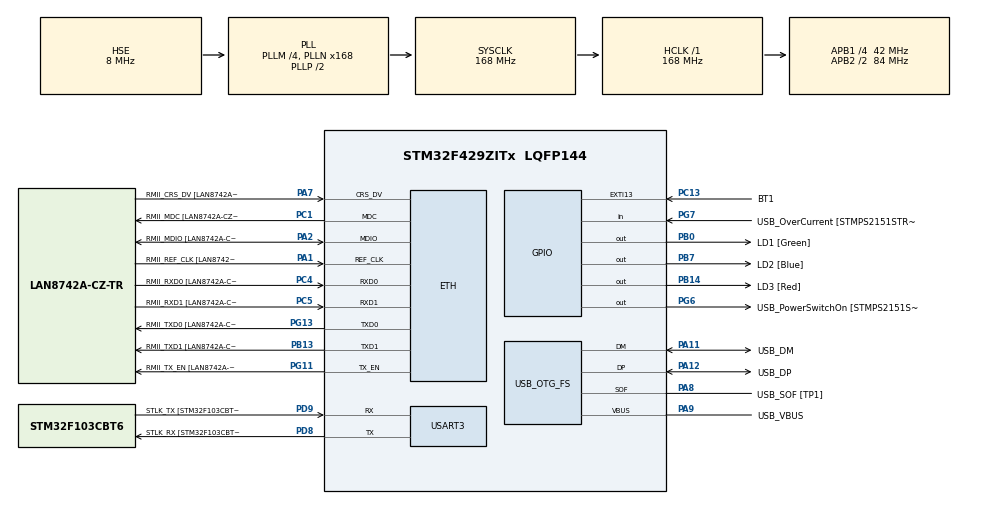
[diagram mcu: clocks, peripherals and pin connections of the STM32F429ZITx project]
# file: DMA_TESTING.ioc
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Dma.Request0=USART3_TX
Dma.Request1=USART3_RX
Dma.USART3_RX.1.Direction=DMA_PERIPH_TO_MEMORY
Dma.USART3_RX.1.FIFOMode=DMA_FIFOMODE_DISABLE
Dma.USART3_RX.1.Instance=DMA1_Stream1
Dma.USART3_RX.1.MemDataAlignment=DMA_MDATAALIGN_BYTE
Dma.USART3_RX.1.MemInc=DMA_MINC_ENABLE
Dma.USART3_RX.1.Mode=DMA_NORMAL
Dma.USART3_RX.1.PeriphDataAlignment=DMA_PDATAALIGN_BYTE
Dma.USART3_RX.1.PeriphInc=DMA_PINC_DISABLE
Dma.USART3_RX.1.Priority=DMA_PRIORITY_LOW
Dma.USART3_TX.0.Direction=DMA_MEMORY_TO_PERIPH
Dma.USART3_TX.0.FIFOMode=DMA_FIFOMODE_DISABLE
Dma.USART3_TX.0.Instance=DMA1_Stream3
Dma.USART3_TX.0.MemDataAlignment=DMA_MDATAALIGN_BYTE
Dma.USART3_TX.0.MemInc=DMA_MINC_ENABLE
Dma.USART3_TX.0.Mode=DMA_NORMAL
Dma.USART3_TX.0.PeriphDataAlignment=DMA_PDATAALIGN_BYTE
Dma.USART3_TX.0.PeriphInc=DMA_PINC_DISABLE
Dma.USART3_TX.0.Priority=DMA_PRIORITY_LOW
ETH.MediaInterface=HAL_ETH_RMII_MODE
ETH.PHY_Name=LAN8742A_PHY_ADDRESS
ETH.PHY_Value=0
ETH.PhyAddress=0
Mcu.Family=STM32F4
Mcu.Name=STM32F429ZITx
Mcu.Package=LQFP144
NVIC.DMA1_Stream1_IRQn=true\:0\:0\:false\:false\:true\:false\:true\:true
NVIC.DMA1_Stream3_IRQn=true\:0\:0\:false\:true\:true\:1\:false\:true\:true
NVIC.PriorityGroup=NVIC_PRIORITYGROUP_4
NVIC.USART3_IRQn=true\:0\:0\:false\:true\:true\:2\:true\:true\:true
PA1.GPIO_Label=RMII_REF_CLK [LAN8742A-CZ-TR_REFCLK0]
PA1.Mode=RMII
PA1.Signal=ETH_REF_CLK
PA10.GPIO_Label=USB_ID
PA10.Signal=USB_OTG_FS_ID
PA11.GPIO_Label=USB_DM
PA11.Mode=Device_Only
PA11.Signal=USB_OTG_FS_DM
PA12.GPIO_Label=USB_DP
PA12.Mode=Device_Only
PA12.Signal=USB_OTG_FS_DP
PA13.GPIO_Label=TMS
PA13.Mode=Serial_Wire
PA13.Signal=SYS_JTMS-SWDIO
PA14.GPIO_Label=TCK
PA14.Mode=Serial_Wire
PA14.Signal=SYS_JTCK-SWCLK
PA2.GPIO_Label=RMII_MDIO [LAN8742A-CZ-TR_MDIO]
PA2.Mode=RMII
PA2.Signal=ETH_MDIO
PA7.GPIO_Label=RMII_CRS_DV [LAN8742A-CZ-TR_CRS_DV]
PA7.Mode=RMII
PA7.Signal=ETH_CRS_DV
PA8.GPIO_Label=USB_SOF [TP1]
PA8.Mode=Activate_SOF_FS
PA8.Signal=USB_OTG_FS_SOF
PA9.GPIO_Label=USB_VBUS
PA9.Mode=Activate_VBUS
PA9.Signal=USB_OTG_FS_VBUS
PB0.GPIO_Label=LD1 [Green]
PB0.Signal=GPIO_Output
PB13.GPIO_Label=RMII_TXD1 [LAN8742A-CZ-TR_TXD1]
PB13.Mode=RMII
PB13.Signal=ETH_TXD1
PB14.GPIO_Label=LD3 [Red]
PB14.Signal=GPIO_Output
PB7.GPIO_Label=LD2 [Blue]
PB7.Signal=GPIO_Output
PC1.GPIO_Label=RMII_MDC [LAN8742A-CZ-TR_MDC]
PC1.Mode=RMII
PC1.Signal=ETH_MDC
PC13.GPIO_Label=BT1
PC13.Signal=GPXTI13
PC14/OSC32_IN.Mode=LSE-External-Oscillator
PC14/OSC32_IN.Signal=RCC_OSC32_IN
PC15/OSC32_OUT.Mode=LSE-External-Oscillator
PC15/OSC32_OUT.Signal=RCC_OSC32_OUT
PC4.GPIO_Label=RMII_RXD0 [LAN8742A-CZ-TR_RXD0]
PC4.Mode=RMII
PC4.Signal=ETH_RXD0
PC5.GPIO_Label=RMII_RXD1 [LAN8742A-CZ-TR_RXD1]
PC5.Mode=RMII
PC5.Signal=ETH_RXD1
PD8.GPIO_Label=STLK_RX [STM32F103CBT6_PA3]
PD8.Mode=Asynchronous
PD8.Signal=USART3_TX
PD9.GPIO_Label=STLK_TX [STM32F103CBT6_PA2]
PD9.Mode=Asynchronous
PD9.Signal=USART3_RX
PG11.GPIO_Label=RMII_TX_EN [LAN8742A-CZ-TR_TXEN]
PG11.Mode=RMII
PG11.Signal=ETH_TX_EN
PG13.GPIO_Label=RMII_TXD0 [LAN8742A-CZ-TR_TXD0]
PG13.Mode=RMII
PG13.Signal=ETH_TXD0
PG6.GPIO_Label=USB_PowerSwitchOn [STMPS2151STR_EN]
PG6.Signal=GPIO_Output
PG7.GPIO_Label=USB_OverCurrent [STMPS2151STR_FAULT]
PG7.Signal=GPIO_Input
PH0/OSC_IN.GPIO_Label=MCO [STM32F103CBT6_PA8]
PH0/OSC_IN.Mode=HSE-External-Clock-Source
PH0/OSC_IN.Signal=RCC_OSC_IN
PH1/OSC_OUT.Mode=HSE-External-Clock-Source
PH1/OSC_OUT.Signal=RCC_OSC_OUT
ProjectManager.HeapSize=0x200
ProjectManager.StackSize=0x400
ProjectManager.TargetToolchain=STM32CubeIDE
RCC.48MHZClocksFreq_Value=48000000
RCC.AHBFreq_Value=168000000
RCC.APB1CLKDivider=RCC_HCLK_DIV4
RCC.APB1Freq_Value=42000000
RCC.APB1TimFreq_Value=84000000
RCC.APB2CLKDivider=RCC_HCLK_DIV2
RCC.APB2Freq_Value=84000000
RCC.APB2TimCLKDivider=2
RCC.APB2TimFreq_Value=168000000
RCC.CortexFreq_Value=168000000
RCC.HCLKFreq_Value=168000000
RCC.HSE_VALUE=8000000
RCC.HSI_VALUE=16000000
RCC.PLLM=4
RCC.PLLMUL=RCC_PLL_MUL9
RCC.PLLN=168
RCC.PLLQ=7
RCC.PRESCALERUSB=RCC_USBCLKSOURCE_PLL_DIV1_5
RCC.SYSCLKFreq_VALUE=168000000
RCC.SYSCLKSource=RCC_SYSCLKSOURCE_PLLCLK
RCC.SYSCLKSourceVirtual=RCC_SYSCLKSOURCE_PLLCLK
RCC.USBFreq_Value=48000000
RCC.VCOOutputFreq_Value=336000000
USART3.VirtualMode=VM_ASYNC
USB_OTG_FS.VirtualMode=Device_Only
board=NUCLEO-F429ZI

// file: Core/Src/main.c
/* USER CODE BEGIN Header */
/**
  ******************************************************************************
  * @file           : main.c
  * @brief          : Main program body
  ******************************************************************************
  * @attention
  *
  * Copyright (c) 2023 STMicroelectronics.
  * All rights reserved.
  *
  * This software is licensed under terms that can be found in the LICENSE file
  * in the root directory of this software component.
  * If no LICENSE file comes with this software, it is provided AS-IS.
  *
  ******************************************************************************
  */
/* USER CODE END Header */
#include "main.h"
#include "dma.h"
#include "eth.h"
#include "usart.h"
#include "usb_otg.h"
#include "gpio.h"

/* USER CODE BEGIN Includes */
#include "stdio.h"
#include "string.h"
#include "RingBuffer.h"
#include "command_parser.h"
#include "debounce.h"
#include "LedDriver.h"

/* USER CODE END Includes */

/* USER CODE BEGIN PV */

LedDiode_t Led1;
LedDiode_t Led2;
LedDiode_t Led3;

Button_t BlueButton;	//button type

RBuffer_t ReceivedDataRBuffer;	//Circular buffer for UART RX

uint8_t ReceivedMessage[32];	//Received Messages from UART (via DMA)
uint8_t CommandsCounter;		//Messages counter

uint8_t ExtractedCommand[32];	//Extracted Command to parse

/* USER CODE END PV */

void SystemClock_Config(void);
static void MX_NVIC_Init(void);
/* USER CODE BEGIN PFP */
void ButtonPress (void);
/* USER CODE END PFP */

int main(void)
{

  /* MCU Configuration--------------------------------------------------------*/

  /* Reset of all peripherals, Initializes the Flash interface and the Systick. */
  HAL_Init();

  /* Configure the system clock */
  SystemClock_Config();

  /* Initialize all configured peripherals */
  MX_GPIO_Init();
  MX_DMA_Init();
  MX_ETH_Init();
  MX_USART3_UART_Init();
  MX_USB_OTG_FS_PCD_Init();

  /* Initialize interrupts */
  MX_NVIC_Init();
  /* USER CODE BEGIN 2 */
  HAL_UARTEx_ReceiveToIdle_DMA(&huart3, ReceivedMessage , 32);		//Listen to UART, execute receive cplt callback after 32 bytes or uart idle state, allows to receive flexible data lengths (DMA is collecting data, and executing Interrupt)
  Debounce_ButtonInit(&BlueButton, BT1_GPIO_Port, BT1_Pin, PULL_DOWN, 30, 1000, 1000);
  Debounce_RegisterCallbackPress(&BlueButton, ButtonPress);

  Led_Init(&Led1, LD1_GPIO_Port, LD1_Pin);
  Led_Init(&Led2, LD2_GPIO_Port, LD2_Pin);
  Led_Init(&Led3, LD3_GPIO_Port, LD3_Pin);

  /* USER CODE END 2 */

  /* Infinite loop */
  /* USER CODE BEGIN WHILE */
  while (1)
  {
	  Led_Routine(&Led1);
	  Led_Routine(&Led2);
	  Led_Routine(&Led3);

	  if(CommandsCounter > 0)
	  {
		  Parser_TakeLine(&ReceivedDataRBuffer,ExtractedCommand);
		  Parser_Parse(ExtractedCommand);
		  CommandsCounter--;

	  }

    /* USER CODE END WHILE */

  }
}

void SystemClock_Config(void)
{
  RCC_OscInitTypeDef RCC_OscInitStruct = {0};
  RCC_ClkInitTypeDef RCC_ClkInitStruct = {0};

  /** Configure the main internal regulator output voltage
  */
  __HAL_RCC_PWR_CLK_ENABLE();
  __HAL_PWR_VOLTAGESCALING_CONFIG(PWR_REGULATOR_VOLTAGE_SCALE1);

  /** Initializes the RCC Oscillators according to the specified parameters
  * in the RCC_OscInitTypeDef structure.
  */
  RCC_OscInitStruct.OscillatorType = RCC_OSCILLATORTYPE_HSE;
  RCC_OscInitStruct.HSEState = RCC_HSE_BYPASS;
  RCC_OscInitStruct.PLL.PLLState = RCC_PLL_ON;
  RCC_OscInitStruct.PLL.PLLSource = RCC_PLLSOURCE_HSE;
  RCC_OscInitStruct.PLL.PLLM = 4;
  RCC_OscInitStruct.PLL.PLLN = 168;
  RCC_OscInitStruct.PLL.PLLP = RCC_PLLP_DIV2;
  RCC_OscInitStruct.PLL.PLLQ = 7;
  if (HAL_RCC_OscConfig(&RCC_OscInitStruct) != HAL_OK)
  {
    Error_Handler();
  }

  /** Initializes the CPU, AHB and APB buses clocks
  */
  RCC_ClkInitStruct.ClockType = RCC_CLOCKTYPE_HCLK|RCC_CLOCKTYPE_SYSCLK
                              |RCC_CLOCKTYPE_PCLK1|RCC_CLOCKTYPE_PCLK2;
  RCC_ClkInitStruct.SYSCLKSource = RCC_SYSCLKSOURCE_PLLCLK;
  RCC_ClkInitStruct.AHBCLKDivider = RCC_SYSCLK_DIV1;
  RCC_ClkInitStruct.APB1CLKDivider = RCC_HCLK_DIV4;
  RCC_ClkInitStruct.APB2CLKDivider = RCC_HCLK_DIV2;

  if (HAL_RCC_ClockConfig(&RCC_ClkInitStruct, FLASH_LATENCY_5) != HAL_OK)
  {
    Error_Handler();
  }
}

/**
  * @brief NVIC Configuration.
  * @retval None
  */
static void MX_NVIC_Init(void)
{
  /* DMA1_Stream3_IRQn interrupt configuration */
  HAL_NVIC_SetPriority(DMA1_Stream3_IRQn, 0, 0);
  HAL_NVIC_EnableIRQ(DMA1_Stream3_IRQn);
  /* USART3_IRQn interrupt configuration */
  HAL_NVIC_SetPriority(USART3_IRQn, 0, 0);
  HAL_NVIC_EnableIRQ(USART3_IRQn);
}

/* USER CODE BEGIN 4 */

void HAL_UARTEx_RxEventCallback(UART_HandleTypeDef *huart, uint16_t Size) //Callback executed after Uart Rx complete (32 bytes or uart idle state)
{
	uint8_t i;
	if(huart -> Instance == USART3)
	{

		if(NULL != strpbrk((char*)ReceivedMessage,"\n"))	//look for linefeed to count full received commands
		{
			CommandsCounter++;
		}

		for(i = 0; i < Size; i++)
		{
			RBuffer_Write(&ReceivedDataRBuffer, ReceivedMessage[i]);	//Write received message to circular buffer
		}
		HAL_UARTEx_ReceiveToIdle_DMA(&huart3, ReceivedMessage , 32); //set listen again

	}
}

void ButtonPress (void)
{

}

/* USER CODE END 4 */

void Error_Handler(void)
{
  __disable_irq();
  while (1)
  {
  }
}
